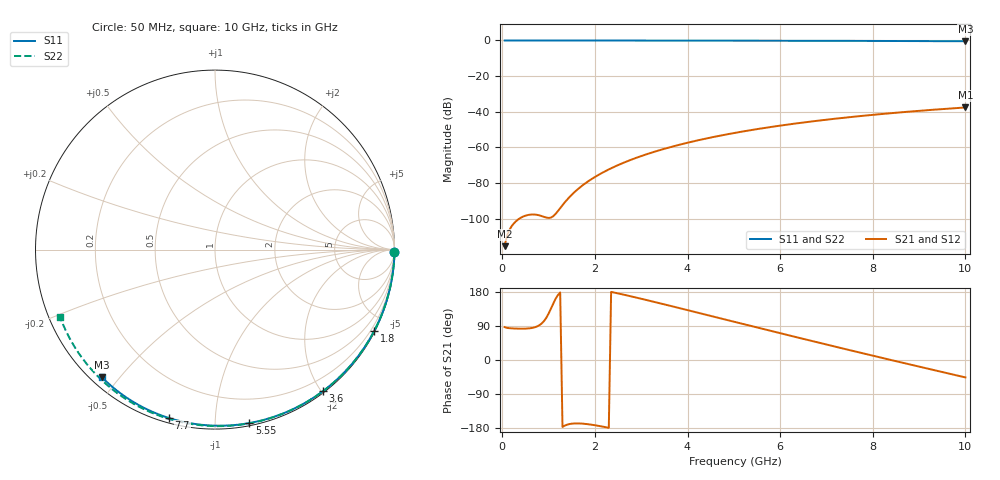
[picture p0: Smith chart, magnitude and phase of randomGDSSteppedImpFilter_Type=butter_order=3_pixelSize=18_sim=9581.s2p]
! freq	dB(S11)	phase(S11)	dB(S12)	phase(S12)
!  dB(S21)	phase(S21)	dB(S22)	phase(S22)
!S-par simulation data
#  GHz  S  DB  R 50
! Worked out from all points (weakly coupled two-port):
!   200 points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, 50 MHz to 10 GHz, reference 50 ohm
!   highest |S21| = -37.57 dB at 10 GHz (marker M1); lowest = -115.3 dB at 50 MHz (marker M2)
!   lowest |S11| = -0.4 dB at 10 GHz (marker M3), VSWR 38.93, Z = 1.54 - j22.4 ohm
!   |S11| at or under -10 dB: nowhere
!   |S22| runs from -0.5 to 0.0 dB; largest |S21 - S12| = 0
!   S11 on the Smith chart (normalised r, x): 50 MHz: open; 1.8 GHz: 0.04, -4.17; 3.6 GHz: 0.02, -2.02; 5.55 GHz: 0.02, -1.22; 7.7 GHz: 0.02, -0.76; 10 GHz: 0.03, -0.45
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0.05  -0.00 -0.8  -115.33 86.8  -115.33 86.8  -0.00 -0.9
0.45  -0.01 -6.8  -98.73 82.6  -98.73 82.6  -0.01 -8.2
0.9  -0.02 -13.6  -98.89 102.6  -98.89 102.6  -0.02 -16.2
1.3  -0.02 -19.6  -92.33 -176.7  -92.33 -176.7  -0.03 -23.3
1.75  -0.03 -26.2  -80.91 -168.1  -80.91 -168.1  -0.04 -31.2
1.8  -0.03 -27.0  -79.96 -168.7  -79.96 -168.7  -0.04 -32.1
1.95  -0.04 -29.2  -77.35 -171.1  -77.35 -171.1  -0.04 -34.7
2.1  -0.04 -31.4  -75.03 -174.3  -75.03 -174.3  -0.05 -37.3
2.3  -0.04 -34.3  -72.29 -179.0  -72.29 -179.0  -0.05 -40.7
2.5  -0.05 -37.2  -69.88 175.7  -69.88 175.7  -0.06 -44.2
2.9  -0.06 -42.9  -65.73 164.5  -65.73 164.5  -0.07 -50.9
3.4  -0.07 -50.0  -61.49 149.8  -61.49 149.8  -0.08 -59.2
3.6  -0.07 -52.8  -60.01 143.8  -60.01 143.8  -0.08 -62.5
4.3  -0.09 -62.4  -55.55 122.5  -55.55 122.5  -0.11 -73.7
5.05  -0.11 -72.3  -51.69 99.6  -51.69 99.6  -0.13 -85.4
5.55  -0.13 -78.8  -49.50 84.4  -49.50 84.4  -0.15 -93.0
6.1  -0.15 -85.8  -47.38 67.7  -47.38 67.7  -0.18 -101.1
6.7  -0.18 -93.2  -45.35 49.7  -45.35 49.7  -0.21 -109.8
7.7  -0.24 -105.2  -42.47 20.2  -42.47 20.2  -0.29 -124.1
8.35  -0.29 -112.8  -40.87 1.2  -40.87 1.2  -0.34 -133.2
9.2  -0.36 -122.6  -39.05 -23.2  -39.05 -23.2  -0.43 -145.1
10  -0.45 -131.7  -37.57 -46.0  -37.57 -46.0  -0.53 -156.5
